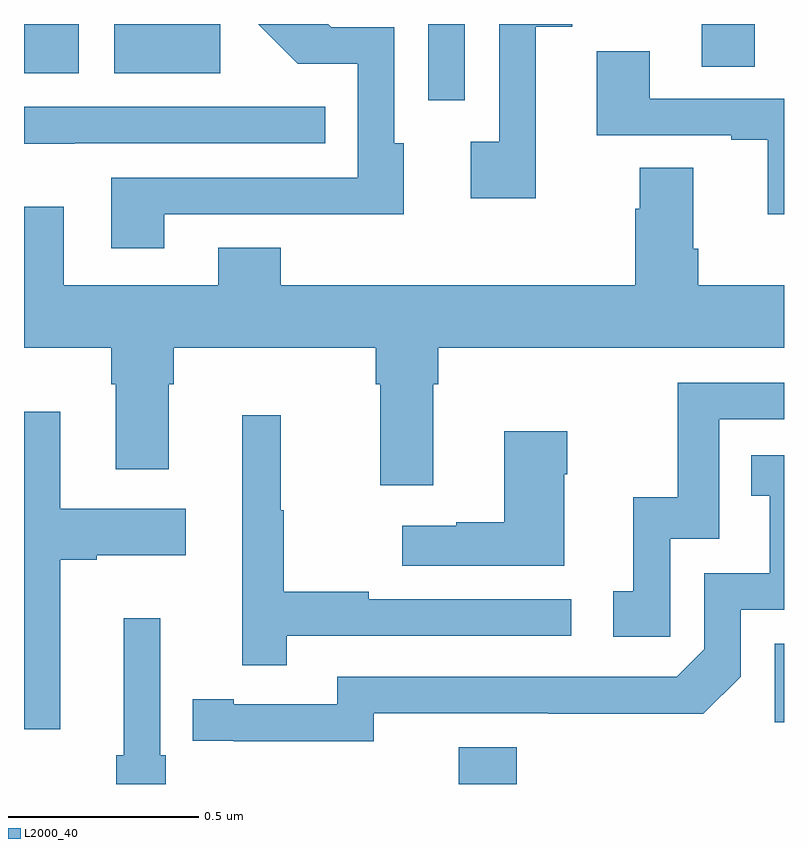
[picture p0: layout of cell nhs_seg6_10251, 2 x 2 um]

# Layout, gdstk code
import gdstk
lib = gdstk.Library(unit=1e-6, precision=1e-09)
def R(c, l, rs):  # rectangles x0, y0, x1, y1
    for r in rs: c.add(gdstk.rectangle(r[:2], r[2:], *l))
def P(c, l, *ps):  # polygons
    for p in ps: c.add(gdstk.Polygon(p, *l))
L2000_40 = (2000, 40)

nhs_seg6_10251 = lib.new_cell('nhs_seg6_10251')
R(nhs_seg6_10251, L2000_40, [(245.144,967.5,245.297,967.597), (245.976,967.662,246,967.869), (245.064,969.3,245.16,969.5), (244,969.371,244.144,969.5), (244.238,969.371,244.516,969.5), (245.783,969.388,245.923,969.5)])
P(nhs_seg6_10251, L2000_40, [(244.369,969),(244.781,969),(244.781,968.999),(244.999,968.999),(244.999,969.186),(244.974,969.186),(244.974,969.492),(244.808,969.492),(244.8,969.5),(244.617,969.5),(244.721,969.396),(244.878,969.396),(244.878,969.096),(244.229,969.096),(244.229,968.91),(244.369,968.91)],
  [(245.347,969.493),(245.443,969.493),(245.443,969.5),(245.25,969.5),(245.25,969.19),(245.175,969.19),(245.175,969.042),(245.347,969.042)],
  [(246,969.303),(245.647,969.303),(245.647,969.428),(245.507,969.428),(245.507,969.207),(245.861,969.207),(245.861,969.195),(245.957,969.195),(245.957,969),(246,969)],
  [(244.133,969.186),(244.793,969.186),(244.793,969.282),(244,969.282),(244,969.185),(244.133,969.185)],
  [(245.077,968.552),(245.09,968.552),(245.09,968.648),(246,968.648),(246,968.812),(245.774,968.812),(245.774,968.908),(245.761,968.908),(245.761,969.122),(245.621,969.122),(245.621,969.014),(245.609,969.014),(245.609,968.812),(244.675,968.812),(244.675,968.911),(244.511,968.911),(244.511,968.812),(244.105,968.812),(244.105,969.019),(244,969.019),(244,968.648),(244.229,968.648),(244.229,968.552),(244.241,968.552),(244.241,968.328),(244.381,968.328),(244.381,968.552),(244.394,968.552),(244.394,968.648),(244.925,968.648),(244.925,968.552),(244.937,968.552),(244.937,968.286),(245.077,968.286)],
  [(245.7,968.145),(245.829,968.145),(245.829,968.46),(246,968.46),(246,968.556),(245.721,968.556),(245.721,968.254),(245.603,968.254),(245.603,968.007),(245.55,968.007),(245.55,967.887),(245.7,967.887)],
  [(244.096,968.09),(244.192,968.09),(244.192,968.102),(244.426,968.102),(244.426,968.224),(244.096,968.224),(244.096,968.479),(244,968.479),(244,967.644),(244.096,967.644)],
  [(244.691,967.89),(245.44,967.89),(245.44,967.986),(244.907,967.986),(244.907,968.006),(244.684,968.006),(244.684,968.22),(244.676,968.22),(244.676,968.47),(244.574,968.47),(244.574,967.812),(244.691,967.812)],
  [(245.422,968.315),(245.43,968.315),(245.43,968.428),(245.264,968.428),(245.264,968.189),(245.138,968.189),(245.138,968.179),(244.995,968.179),(244.995,968.075),(245.422,968.075)],
  [(244.92,967.686),(245.38,967.686),(245.38,967.685),(245.788,967.685),(245.886,967.782),(245.886,967.959),(246,967.959),(246,968.365),(245.914,968.365),(245.914,968.259),(245.963,968.259),(245.963,968.055),(245.79,968.055),(245.79,967.854),(245.718,967.782),(244.824,967.782),(244.824,967.71),(244.552,967.71),(244.552,967.723),(244.444,967.723),(244.444,967.614),(244.552,967.614),(244.552,967.613),(244.92,967.613)],
  [(244.373,967.576),(244.359,967.576),(244.359,967.936),(244.262,967.936),(244.262,967.576),(244.243,967.576),(244.243,967.5),(244.373,967.5)])

lib.write_gds('nhs_seg6_10251.gds')
